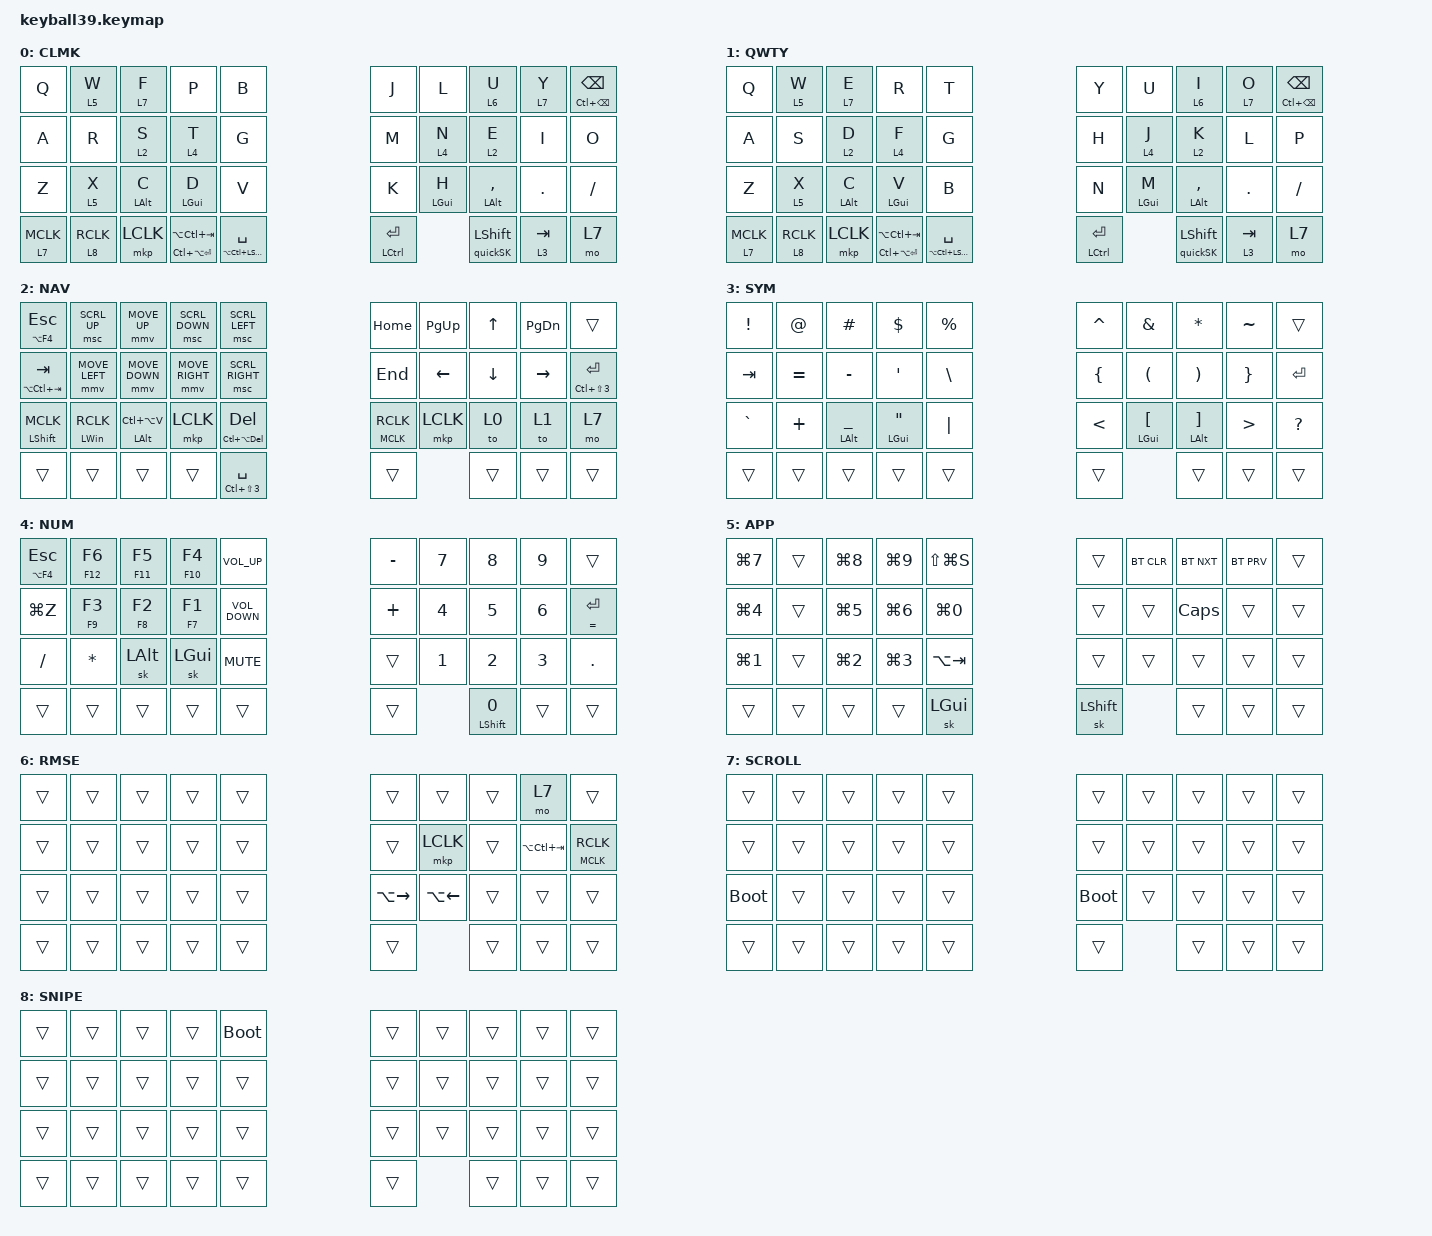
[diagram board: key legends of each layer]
#define CLMK    0
#define QWTY    1
#define NAV     2
#define SYM     3
#define NUM     4
#define APP     5
#define RMSE    6
#define SCROLL  7
#define SNIPE   8

#include <behaviors/mouse_keys.dtsi>
#include <dt-bindings/zmk/mouse.h>
#include <behaviors.dtsi>
#include <dt-bindings/zmk/bt.h>
#include <dt-bindings/zmk/keys.h>
#include <dt-bindings/zmk/pointing.h>
#include <input/processors.dtsi>
#include <zephyr/dt-bindings/input/input-event-codes.h>

#define ZMK_POINTING_DEFAULT_MOVE_VAL 1200  // 600
#define ZMK_POINTING_DEFAULT_SCRL_VAL 200   // 10

&lt {
    tapping-term-ms = <240>;
    flavor = "tap-preferred";
    quick-tap-ms = <150>;
};

&mt {
    tapping-term-ms = <200>;
    flavor = "tap-preferred";
    quick-tap-ms = <150>;
};

&mmv_input_listener { input-processors = <&zip_xy_scaler 2 1>; };

&msc_input_listener { input-processors = <&zip_scroll_scaler 2 1>; };

&msc {
    acceleration-exponent = <1>;      // 0
    time-to-max-speed-ms = <100>;       // 300
    delay-ms = <0>;                   // 0
};

&mmv {
    time-to-max-speed-ms = <500>;
    acceleration-exponent = <1>;
    trigger-period-ms = <16>;
};

&caps_word { continue-list = <UNDERSCORE MINUS>; };

/ {
    // custom shift using mod-morph 

    behaviors {
        cmqus: comma_question {
            compatible = "zmk,behavior-mod-morph";
            label = "COMMA_QUESTION";
            #binding-cells = <0>;
            bindings = <&kp COMMA>, <&kp QUESTION>;

            mods = <(MOD_LSFT|MOD_RSFT)>;
        };

        dtsmi: dot_semi {
            compatible = "zmk,behavior-mod-morph";
            label = "DOT_SEMI";
            #binding-cells = <0>;
            bindings = <&kp DOT>, <&kp SEMI>;

            mods = <(MOD_LSFT|MOD_RSFT)>;
        };

        td0: td0 {
            compatible = "zmk,behavior-tap-dance";
            display-name = "Shift/Caps Lock Tap Dance";
            #binding-cells = <0>;
            bindings = <&kp LEFT_SHIFT>, <&kp CAPS>;
        };

        td_comma: td_comma {
            compatible = "zmk,behavior-tap-dance";
            label = "TD_COMMA";
            #binding-cells = <0>;
            bindings = <&ht LEFT_ALT COMMA>, <&kp MINUS>;

            tapping-term-ms = <220>;
        };

        ht: ht {
            compatible = "zmk,behavior-hold-tap";
            label = "HT";
            bindings = <&kp>, <&kp>;

            #binding-cells = <2>;
            flavor = "tap-preferred";
            tapping-term-ms = <220>;
        };

        LongHT: LongHT {
            compatible = "zmk,behavior-hold-tap";
            label = "LONGHT";
            bindings = <&kp>, <&kp>;

            #binding-cells = <2>;
            tapping-term-ms = <400>;
        };

        MouseHT: MouseHT {
            compatible = "zmk,behavior-hold-tap";
            label = "MOUSEHT";
            bindings = <&kp>, <&mkp>;

            #binding-cells = <2>;
            tapping-term-ms = <200>;
        };

        quickSK: quickSK {
            compatible = "zmk,behavior-sticky-key";
            label = "QUICKSK";
            bindings = <&kp>;
            #binding-cells = <1>;
            quick-release;
            release-after-ms = <1000>;
        };

        Mouse2HT: Mouse2HT {
            compatible = "zmk,behavior-hold-tap";
            label = "MOUSE2HT";
            bindings = <&mkp>, <&mkp>;

            #binding-cells = <2>;
            tapping-term-ms = <200>;
            flavor = "tap-preferred";
        };
        
        mlt: mouse_layer_tap {
            compatible = "zmk,behavior-hold-tap";
            label = "MOUSE_LAYER_TAP";

            #binding-cells = <2>;
            flavor = "tap-preferred";
            tapping-term-ms = <200>;
            bindings = <&mo>, <&mkp>;
        };
    };

    combos {
        compatible = "zmk,combos";

        Back {
            bindings = <&kp LA(LEFT)>;
            key-positions = <1 11>;
        };

        Forward {
            bindings = <&kp LA(RIGHT)>;
            key-positions = <11 21>;
        };

        Del1 {
            bindings = <&kp DELETE>;
            key-positions = <6 5>;
        };

        Del2 {
            bindings = <&kp DELETE>;
            key-positions = <4 3>;
        };

        AltTab {
            bindings = <&kp LA(TAB)>;
            key-positions = <3 14>;
        };

        SemiColon {
            bindings = <&kp SEMICOLON>;
            key-positions = <6 7>;
        };

        Colon {
            bindings = <&kp COLON>;
            key-positions = <8 7>;
        };

        Enter {
            bindings = <&kp ENTER>;
            key-positions = <14 24>;
        };

        Dash {
            bindings = <&kp MINUS>;
            key-positions = <27 28>;
        };
    };

    macros {
        Hiragana: Hiragana {
            compatible = "zmk,behavior-macro";
            #binding-cells = <0>;
            bindings = <&kp LC(SPACE)>;
            label = "HIRAGANA";
        };
    };

    keymap {
        compatible = "zmk,keymap";

        default_layer {
            label = "CLMK";
            bindings = <
&kp Q          &lt 5 W       &lt 7 F            &kp P             &kp B                                    &kp J    &kp L           &lt 6 U             &lt 7 Y        &ht LC(BACKSPACE) BACKSPACE
&kp A          &kp R         &lt 2 S            &lt 4 T           &kp G                                    &kp M    &lt 4 N         &lt 2 E             &kp I          &kp O
&kp Z          &lt 5 X       &ht LEFT_ALT C     &ht LEFT_GUI D    &kp V                                    &kp K    &ht LEFT_GUI H  &ht LEFT_ALT COMMA  &kp PERIOD     &kp SLASH
&mlt 7 MCLK    &mlt 8 RCLK   &mkp LCLK  &ht LC(LA(ENTER)) LA(LC(TAB))  &ht LA(LC(LEFT_SHIFT)) SPACE  &mt LCTRL ENTER         &quickSK LSHFT  &lt 3 TAB &mo 7
            >;
        };

        qwerty_layer {
            label = "QWTY";
            bindings = <
&kp Q          &lt 5 W       &lt 7 E            &kp R             &kp T                                    &kp Y    &kp U           &lt 6 I             &lt 7 O        &ht LC(BACKSPACE) BACKSPACE
&kp A          &kp S         &lt 2 D            &lt 4 F           &kp G                                    &kp H    &lt 4 J         &lt 2 K             &kp L          &kp P
&kp Z          &lt 5 X       &ht LEFT_ALT C     &ht LEFT_GUI V    &kp B                                    &kp N    &ht LEFT_GUI M  &ht LEFT_ALT COMMA  &kp PERIOD     &kp SLASH
&mlt 7 MCLK    &mlt 8 RCLK   &mkp LCLK  &ht LC(LA(ENTER)) LA(LC(TAB))  &ht LA(LC(LEFT_SHIFT)) SPACE  &mt LCTRL ENTER         &quickSK LSHFT  &lt 3 TAB &mo 7
            >;
        };

        nav_layer {
            label = "NAV";
            bindings = <
&LongHT LA(F4) ESC        &msc SCRL_UP        &mmv MOVE_UP            &msc SCRL_DOWN              &msc SCRL_LEFT                               &kp HOME              &kp PAGE_UP  &kp UP_ARROW  &kp PAGE_DOWN  &trans
&mt LA(LC(TAB)) TAB       &mmv MOVE_LEFT      &mmv MOVE_DOWN          &mmv MOVE_RIGHT             &msc SCRL_RIGHT                              &kp END               &kp LEFT     &kp DOWN      &kp RIGHT      &ht LC(LS(NUMBER_3)) ENTER
&MouseHT LEFT_SHIFT MCLK  &MouseHT LWIN RCLK  &ht LEFT_ALT LC(LA(V))  &mkp LCLK                   &LongHT LC(LA(DELETE)) DELETE                &Mouse2HT MCLK RCLK   &mkp LCLK    &to 0         &to 1          &mo 7                       
&trans           &trans          &trans        &trans     &ht LC(LS(NUMBER_3)) SPACE  &trans  &trans  &trans                                        &trans
            >;
        };

        symbol_layer {
            label = "SYM";
            bindings = <
&kp EXCL   &kp AT     &kp HASH                 &kp DLLR                    &kp PRCNT              &kp CARET       &kp AMPS                   &kp ASTRK                   &kp TILDE         &trans
&kp TAB    &kp EQUAL  &kp MINUS                &kp SQT                     &kp BACKSLASH          &kp LEFT_BRACE  &kp LEFT_PARENTHESIS       &kp RIGHT_PARENTHESIS       &kp RIGHT_BRACE   &kp ENTER
&kp GRAVE  &kp PLUS   &ht LEFT_ALT UNDERSCORE  &ht LEFT_GUI DOUBLE_QUOTES  &kp PIPE               &kp LESS_THAN   &ht LEFT_GUI LEFT_BRACKET  &ht LEFT_ALT RIGHT_BRACKET  &kp GREATER_THAN  &kp QUESTION
&trans           &trans        &trans        &trans        &trans       &trans  &trans  &trans                                                                 &trans
            >;
        };

        number_layer {
            label = "NUM";
            bindings = <
&LongHT LA(F4) ESCAPE  &ht F12 F6    &ht F11 F5    &ht F10 F4    &kp C_VOLUME_UP            &kp MINUS          &kp N7        &kp N8        &kp N9        &trans           
&kp LG(Z)              &ht F9 F3     &ht F8 F2     &ht F7 F1     &kp C_VOLUME_DOWN          &kp PLUS           &kp NUMBER_4  &kp N5        &kp NUMBER_6  &ht EQUAL ENTER  
&kp SLASH              &kp ASTERISK  &sk LEFT_ALT  &sk LEFT_GUI  &kp C_MUTE                 &trans             &kp NUMBER_1  &kp NUMBER_2  &kp NUMBER_3  &kp PERIOD
&trans        &trans        &trans        &trans        &trans        &trans  &ht LEFT_SHIFT N0  &trans                                                  &trans
            >;
        };

        app_layer {
            label = "APP";
            bindings = <
&kp LG(N7)        &trans  &kp LG(N8)        &kp LG(N9)        &kp LS(LG(S))          &trans  &bt BT_CLR  &bt BT_NXT       &bt BT_PRV                         &trans           
&kp LG(NUMBER_4)  &trans  &kp LG(N5)        &kp LG(NUMBER_6)  &kp LG(N0)             &trans  &trans      &kp CAPSLOCK     &trans                             &trans           
&kp LG(NUMBER_1)  &trans  &kp LG(NUMBER_2)  &kp LG(NUMBER_3)  &kp LA(TAB)            &trans  &trans      &trans           &trans                             &trans
&trans  &trans   &trans   &trans   &sk LEFT_GUI  &sk LEFT_SHIFT  &trans  &trans                       &trans
            >;
        };

        rightmouse_layer {
            label = "RMSE";
            bindings = <
&trans  &trans  &trans  &trans  &trans                  &trans        &trans             &trans  &mo 7   &trans
&trans  &trans  &trans  &trans  &trans                  &trans        &mkp LCLK          &trans  &kp LA(LC(TAB)) &Mouse2HT MCLK RCLK 
&trans  &trans  &trans  &trans  &trans                  &kp LA(RIGHT) &kp LA(LEFT)       &trans  &trans  &trans
&trans  &trans  &trans  &trans  &trans  &trans  &trans  &trans                          &trans
            >;
        };

        scroll_layer {
            label = "SCROLL";
            bindings = <
&trans  &trans  &trans  &trans  &trans                  &trans  &trans  &trans  &trans  &trans
&trans  &trans  &trans  &trans  &trans                  &trans  &trans  &trans  &trans  &trans
&bootloader  &trans  &trans  &trans  &trans             &bootloader  &trans  &trans  &trans  &trans
&trans  &trans  &trans  &trans  &trans  &trans  &trans  &trans                          &trans
            >;
        };

        snipe_layer {
            label = "SNIPE";
            bindings = <
&trans  &trans  &trans  &trans  &bootloader                  &trans  &trans  &trans  &trans  &trans
&trans  &trans  &trans  &trans  &trans                       &trans  &trans  &trans  &trans  &trans
&trans  &trans  &trans  &trans  &trans                       &trans  &trans  &trans  &trans  &trans
&trans  &trans  &trans  &trans  &trans       &trans  &trans  &trans                          &trans
            >;
        };
    };
};
